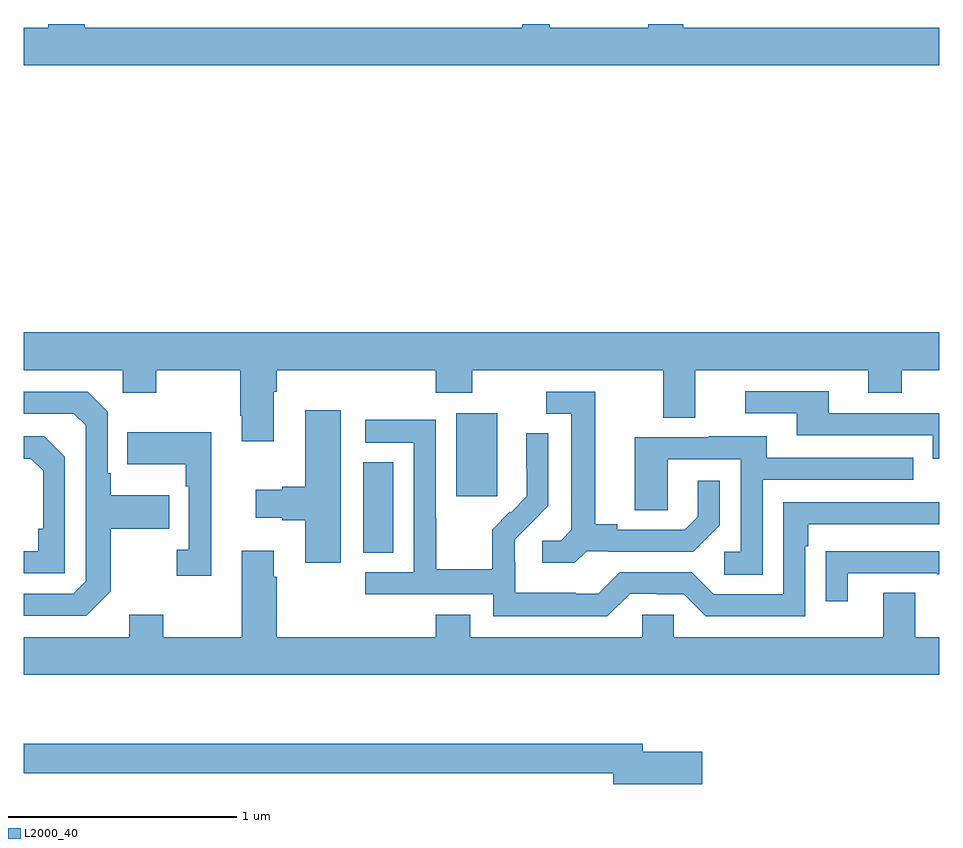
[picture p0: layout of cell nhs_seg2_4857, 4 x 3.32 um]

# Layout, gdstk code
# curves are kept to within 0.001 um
import gdstk
lib = gdstk.Library(unit=1e-6, precision=1e-09)
def R(c, l, rs):  # rectangles x0, y0, x1, y1
    for r in rs: c.add(gdstk.rectangle(r[:2], r[2:], *l))
def P(c, l, *ps):  # polygons
    for p in ps: c.add(gdstk.Polygon(p, *l))
L2000_40 = (2000, 40)

nhs_seg2_4857 = lib.new_cell('nhs_seg2_4857')
R(nhs_seg2_4857, L2000_40, [(376.484,661.489,376.615,661.886), (376.889,661.737,377.068,662.098)])
P(nhs_seg2_4857, L2000_40, [(379,663.784),(377.882,663.784),(377.882,663.8),(377.729,663.8),(377.729,663.784),(377.299,663.784),(377.299,663.8),(377.177,663.8),(377.177,663.784),(375.266,663.784),(375.266,663.8),(375.106,663.8),(375.106,663.784),(375,663.784),(375,663.62),(379,663.62)],
  [(375,662.288),(375.432,662.288),(375.432,662.189),(375.579,662.189),(375.579,662.288),(375.946,662.288),(375.946,662.089),(375.953,662.089),(375.953,661.977),(376.093,661.977),(376.093,662.192),(376.106,662.192),(376.106,662.288),(376.799,662.288),(376.799,662.189),(376.959,662.189),(376.959,662.288),(377.795,662.288),(377.795,662.08),(377.935,662.08),(377.935,662.288),(378.689,662.288),(378.689,662.189),(378.837,662.189),(378.837,662.288),(379,662.288),(379,662.452),(375,662.452)],
  [(379,662.1),(378.517,662.1),(378.517,662.196),(378.153,662.196),(378.153,662.1),(378.377,662.1),(378.377,662.004),(378.972,662.004),(378.972,661.901),(379,661.901)],
  [(377.46,661.497),(377.554,661.497),(377.554,661.494),(377.926,661.494),(378.042,661.61),(378.042,661.804),(377.945,661.804),(377.945,661.647),(377.888,661.59),(377.593,661.59),(377.593,661.613),(377.497,661.613),(377.497,662.193),(377.283,662.193),(377.283,662.097),(377.393,662.097),(377.393,661.589),(377.346,661.542),(377.265,661.542),(377.265,661.445),(377.408,661.445)],
  [(375.379,661.321),(375.379,661.594),(375.635,661.594),(375.635,661.741),(375.379,661.741),(375.379,661.837),(375.366,661.837),(375.366,662.106),(375.279,662.193),(375,662.193),(375,662.097),(375.219,662.097),(375.27,662.046),(375.27,661.365),(375.216,661.311),(375,661.311),(375,661.215),(375.273,661.215)],
  [(376.384,662.113),(376.229,662.113),(376.229,661.778),(376.13,661.778),(376.13,661.765),(376.014,661.765),(376.014,661.643),(376.13,661.643),(376.13,661.631),(376.229,661.631),(376.229,661.446),(376.384,661.446)],
  [(377.649,661.311),(377.765,661.311),(377.765,661.308),(377.883,661.308),(377.979,661.212),(378.414,661.212),(378.414,661.517),(378.427,661.517),(378.427,661.614),(379,661.614),(379,661.71),(378.318,661.71),(378.318,661.308),(378.015,661.308),(377.919,661.404),(377.604,661.404),(377.511,661.311),(377.411,661.311),(377.411,661.315),(377.148,661.315),(377.148,661.449),(377.146,661.449),(377.146,661.546),(377.292,661.694),(377.292,662.012),(377.196,662.012),(377.196,661.858),(377.198,661.858),(377.198,661.736),(377.127,661.665),(377.124,661.668),(377.047,661.591),(377.047,661.417),(376.803,661.417),(376.803,661.64),(376.8,661.64),(376.8,662.07),(376.491,662.07),(376.491,661.971),(376.704,661.971),(376.704,661.404),(376.491,661.404),(376.491,661.308),(377.052,661.308),(377.052,661.211),(377.549,661.211)],
  [(375.818,662.017),(375.451,662.017),(375.451,661.877),(375.708,661.877),(375.708,661.781),(375.72,661.781),(375.72,661.502),(375.669,661.502),(375.669,661.389),(375.818,661.389)],
  [(378.228,661.809),(378.887,661.809),(378.887,661.905),(378.247,661.905),(378.247,661.999),(377.993,661.999),(377.993,661.995),(377.669,661.995),(377.669,661.675),(377.814,661.675),(377.814,661.899),(378.132,661.899),(378.132,661.494),(378.06,661.494),(378.06,661.393),(378.228,661.393)],
  [(375.18,661.908),(375.09,661.998),(375,661.998),(375,661.901),(375.031,661.901),(375.084,661.848),(375.084,661.594),(375.064,661.594),(375.064,661.497),(375,661.497),(375,661.401),(375.18,661.401)],
  [(379,661.12),(378.895,661.12),(378.895,661.315),(378.755,661.315),(378.755,661.12),(377.841,661.12),(377.841,661.218),(377.703,661.218),(377.703,661.12),(376.951,661.12),(376.951,661.219),(376.799,661.219),(376.799,661.12),(376.106,661.12),(376.106,661.385),(376.093,661.385),(376.093,661.498),(375.953,661.498),(375.953,661.12),(375.609,661.12),(375.609,661.219),(375.461,661.219),(375.461,661.12),(375,661.12),(375,660.956),(379,660.956)],
  [(378.601,661.401),(378.991,661.401),(378.991,661.396),(379,661.396),(379,661.497),(378.607,661.497),(378.607,661.496),(378.505,661.496),(378.505,661.278),(378.601,661.278)],
  [(377.965,660.621),(377.704,660.621),(377.704,660.655),(375,660.655),(375,660.526),(377.576,660.526),(377.576,660.479),(377.965,660.479)])

lib.write_gds('nhs_seg2_4857.gds')
